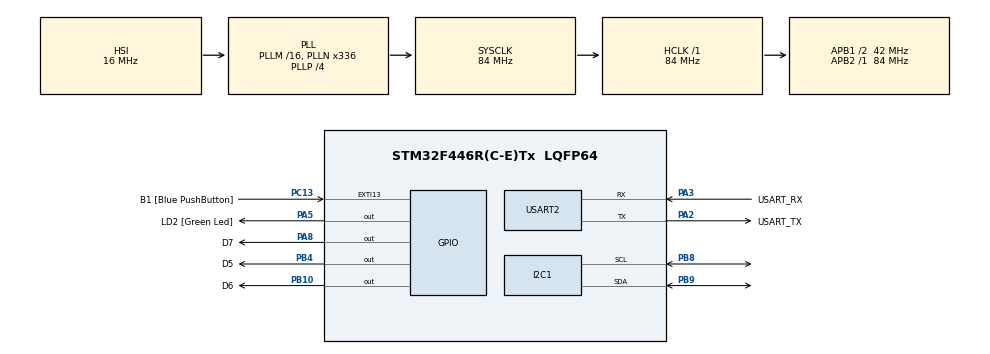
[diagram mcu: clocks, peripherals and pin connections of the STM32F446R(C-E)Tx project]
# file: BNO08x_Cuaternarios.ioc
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Mcu.Family=STM32F4
Mcu.Name=STM32F446R(C-E)Tx
Mcu.Package=LQFP64
NVIC.PriorityGroup=NVIC_PRIORITYGROUP_0
PA13.GPIO_Label=TMS
PA13.Mode=Serial_Wire
PA13.Signal=SYS_JTMS-SWDIO
PA14.GPIO_Label=TCK
PA14.Mode=Serial_Wire
PA14.Signal=SYS_JTCK-SWCLK
PA2.GPIO_Label=USART_TX
PA2.Mode=Asynchronous
PA2.Signal=USART2_TX
PA3.GPIO_Label=USART_RX
PA3.Mode=Asynchronous
PA3.Signal=USART2_RX
PA5.GPIO_Label=LD2 [Green Led]
PA5.Signal=GPIO_Output
PA8.GPIO_Label=D7
PA8.Signal=GPIO_Output
PB10.GPIO_Label=D6
PB10.Signal=GPIO_Output
PB3.GPIO_Label=SWO
PB3.Signal=SYS_JTDO-SWO
PB4.GPIO_Label=D5
PB4.Signal=GPIO_Output
PB8.Mode=I2C
PB8.Signal=I2C1_SCL
PB9.Mode=I2C
PB9.Signal=I2C1_SDA
PC13.GPIO_Label=B1 [Blue PushButton]
PC13.GPIO_ModeDefaultEXTI=GPIO_MODE_IT_FALLING
PC13.Signal=GPXTI13
PC14-OSC32_IN.Mode=LSE-External-Oscillator
PC14-OSC32_IN.Signal=RCC_OSC32_IN
PC15-OSC32_OUT.Mode=LSE-External-Oscillator
PC15-OSC32_OUT.Signal=RCC_OSC32_OUT
PH0-OSC_IN.Mode=HSE-External-Oscillator
PH0-OSC_IN.Signal=RCC_OSC_IN
PH1-OSC_OUT.Mode=HSE-External-Oscillator
PH1-OSC_OUT.Signal=RCC_OSC_OUT
ProjectManager.HeapSize=0x200
ProjectManager.StackSize=0x400
ProjectManager.TargetToolchain=STM32CubeIDE
RCC.48MHZClocksFreq_Value=84000000
RCC.AHBFreq_Value=84000000
RCC.APB1CLKDivider=RCC_HCLK_DIV2
RCC.APB1Freq_Value=42000000
RCC.APB1TimFreq_Value=84000000
RCC.APB2Freq_Value=84000000
RCC.APB2TimFreq_Value=84000000
RCC.CortexFreq_Value=84000000
RCC.FLatency-AdvancedSettings=FLASH_LATENCY_2
RCC.HCLKFreq_Value=84000000
RCC.HSE_VALUE=8000000
RCC.HSI_VALUE=16000000
RCC.PLLN=336
RCC.PLLP=RCC_PLLP_DIV4
RCC.SYSCLKFreq_VALUE=84000000
RCC.SYSCLKSource=RCC_SYSCLKSOURCE_PLLCLK
RCC.USBFreq_Value=168000000
RCC.VCOOutputFreq_Value=336000000
USART2.VirtualMode=VM_ASYNC
board=NUCLEO-F446RE

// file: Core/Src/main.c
/* USER CODE BEGIN Header */
/**
  ******************************************************************************
  * @file           : main.c
  * @brief          : Main program body
  ******************************************************************************
  * @attention
  *
  * Copyright (c) 2026 STMicroelectronics.
  * All rights reserved.
  *
  * This software is licensed under terms that can be found in the LICENSE file
  * in the root directory of this software component.
  * If no LICENSE file comes with this software, it is provided AS-IS.
  *
  ******************************************************************************
  */
/* USER CODE END Header */
#include "main.h"
/* USER CODE BEGIN Includes */
#include <stdio.h>
#include <string.h>
/* USER CODE END Includes */

I2C_HandleTypeDef hi2c1;

UART_HandleTypeDef huart2;

void SystemClock_Config(void);
static void MX_GPIO_Init(void);
static void MX_USART2_UART_Init(void);
static void MX_I2C1_Init(void);

/* USER CODE BEGIN 0 */

#define BNO08X_I2C_ADDR 0x4A // Dirección I2C (ADDR = GND)

// Pines del sensor
#define BNO08X_RST_Pin   GPIO_PIN_8
#define BNO08X_RST_Port  GPIOA
#define BNO08X_PS1_Pin   GPIO_PIN_10
#define BNO08X_PS1_Port  GPIOB
#define BNO08X_PS0_Pin   GPIO_PIN_4
#define BNO08X_PS0_Port  GPIOB

// Convertir Q14 a float
float q14_to_float(int16_t q) {
    return ((float)q) / 16384.0f;
}

// Configuración mínima de pines
void BNO08X_ConfigPins(void) {
    GPIO_InitTypeDef GPIO_InitStruct = {0};

    __HAL_RCC_GPIOA_CLK_ENABLE();
    __HAL_RCC_GPIOB_CLK_ENABLE();

    GPIO_InitStruct.Pin = BNO08X_RST_Pin | BNO08X_PS1_Pin | BNO08X_PS0_Pin;
    GPIO_InitStruct.Mode = GPIO_MODE_OUTPUT_PP;
    GPIO_InitStruct.Pull = GPIO_NOPULL;
    GPIO_InitStruct.Speed = GPIO_SPEED_FREQ_LOW;
    HAL_GPIO_Init(GPIOA, &GPIO_InitStruct);

    // Configurar PS1=LOW, PS0=LOW para I2C
    HAL_GPIO_WritePin(BNO08X_PS1_Port, BNO08X_PS1_Pin, GPIO_PIN_RESET);
    HAL_GPIO_WritePin(BNO08X_PS0_Port, BNO08X_PS0_Pin, GPIO_PIN_RESET);

    // Pulso de reset
    HAL_GPIO_WritePin(BNO08X_RST_Port, BNO08X_RST_Pin, GPIO_PIN_RESET);
    HAL_Delay(10);
    HAL_GPIO_WritePin(BNO08X_RST_Port, BNO08X_RST_Pin, GPIO_PIN_SET);
    HAL_Delay(50);
}

// Leer cuaterniones del sensor directamente por I2C
HAL_StatusTypeDef BNO08X_ReadQuat(I2C_HandleTypeDef *hi2c, float *qw, float *qx, float *qy, float *qz) {
    uint8_t buf[12];
    int16_t qw_i, qx_i, qy_i, qz_i;

    // Leer 12 bytes del sensor (X,Y,Z,W en Q14)
    if (HAL_I2C_Master_Receive(hi2c, (BNO08X_I2C_ADDR << 1), buf, 12, HAL_MAX_DELAY) != HAL_OK)
        return HAL_ERROR;

    qw_i = (int16_t)((buf[1] << 8) | buf[0]);
    qx_i = (int16_t)((buf[3] << 8) | buf[2]);
    qy_i = (int16_t)((buf[5] << 8) | buf[4]);
    qz_i = (int16_t)((buf[7] << 8) | buf[6]);

    *qw = q14_to_float(qw_i);
    *qx = q14_to_float(qx_i);
    *qy = q14_to_float(qy_i);
    *qz = q14_to_float(qz_i);

    return HAL_OK;
}

/* USER CODE END 0 */

int main(void)
{

  /* MCU Configuration--------------------------------------------------------*/

  /* Reset of all peripherals, Initializes the Flash interface and the Systick. */
  HAL_Init();

  /* Configure the system clock */
  SystemClock_Config();

  /* Initialize all configured peripherals */
  MX_GPIO_Init();
  MX_USART2_UART_Init();
  MX_I2C1_Init();
  /* USER CODE BEGIN 2 */

  BNO08X_ConfigPins();
  HAL_Delay(100); // Esperar que el sensor arranque

  float qw, qx, qy, qz;
  char msg[100];

  char test[] = "UART OK!\r\n";
  HAL_UART_Transmit(&huart2, (uint8_t*)test, strlen(test), HAL_MAX_DELAY);
  HAL_Delay(1000); // 1 segundo

  /* USER CODE END 2 */

  /* Infinite loop */
  while (1)
  {

    /* USER CODE BEGIN 3 */

	    if(BNO08X_ReadQuat(&hi2c1, &qw, &qx, &qy, &qz) == HAL_OK) {
	        sprintf(msg, "Q: %.4f %.4f %.4f %.4f\r\n", qw, qx, qy, qz);
	        HAL_UART_Transmit(&huart2, (uint8_t*)msg, strlen(msg), HAL_MAX_DELAY);
	    }
	    HAL_Delay(20); // 50 Hz

  }
  /* USER CODE END 3 */
}

void SystemClock_Config(void)
{
  RCC_OscInitTypeDef RCC_OscInitStruct = {0};
  RCC_ClkInitTypeDef RCC_ClkInitStruct = {0};

  /** Configure the main internal regulator output voltage
  */
  __HAL_RCC_PWR_CLK_ENABLE();
  __HAL_PWR_VOLTAGESCALING_CONFIG(PWR_REGULATOR_VOLTAGE_SCALE3);

  /** Initializes the RCC Oscillators according to the specified parameters
  * in the RCC_OscInitTypeDef structure.
  */
  RCC_OscInitStruct.OscillatorType = RCC_OSCILLATORTYPE_HSI;
  RCC_OscInitStruct.HSIState = RCC_HSI_ON;
  RCC_OscInitStruct.HSICalibrationValue = RCC_HSICALIBRATION_DEFAULT;
  RCC_OscInitStruct.PLL.PLLState = RCC_PLL_ON;
  RCC_OscInitStruct.PLL.PLLSource = RCC_PLLSOURCE_HSI;
  RCC_OscInitStruct.PLL.PLLM = 16;
  RCC_OscInitStruct.PLL.PLLN = 336;
  RCC_OscInitStruct.PLL.PLLP = RCC_PLLP_DIV4;
  RCC_OscInitStruct.PLL.PLLQ = 2;
  RCC_OscInitStruct.PLL.PLLR = 2;
  if (HAL_RCC_OscConfig(&RCC_OscInitStruct) != HAL_OK)
  {
    Error_Handler();
  }

  /** Initializes the CPU, AHB and APB buses clocks
  */
  RCC_ClkInitStruct.ClockType = RCC_CLOCKTYPE_HCLK|RCC_CLOCKTYPE_SYSCLK
                              |RCC_CLOCKTYPE_PCLK1|RCC_CLOCKTYPE_PCLK2;
  RCC_ClkInitStruct.SYSCLKSource = RCC_SYSCLKSOURCE_PLLCLK;
  RCC_ClkInitStruct.AHBCLKDivider = RCC_SYSCLK_DIV1;
  RCC_ClkInitStruct.APB1CLKDivider = RCC_HCLK_DIV2;
  RCC_ClkInitStruct.APB2CLKDivider = RCC_HCLK_DIV1;

  if (HAL_RCC_ClockConfig(&RCC_ClkInitStruct, FLASH_LATENCY_2) != HAL_OK)
  {
    Error_Handler();
  }
}

static void MX_I2C1_Init(void)
{

  hi2c1.Instance = I2C1;
  hi2c1.Init.ClockSpeed = 100000;
  hi2c1.Init.DutyCycle = I2C_DUTYCYCLE_2;
  hi2c1.Init.OwnAddress1 = 0;
  hi2c1.Init.AddressingMode = I2C_ADDRESSINGMODE_7BIT;
  hi2c1.Init.DualAddressMode = I2C_DUALADDRESS_DISABLE;
  hi2c1.Init.OwnAddress2 = 0;
  hi2c1.Init.GeneralCallMode = I2C_GENERALCALL_DISABLE;
  hi2c1.Init.NoStretchMode = I2C_NOSTRETCH_DISABLE;
  if (HAL_I2C_Init(&hi2c1) != HAL_OK)
  {
    Error_Handler();
  }

}

static void MX_USART2_UART_Init(void)
{

  huart2.Instance = USART2;
  huart2.Init.BaudRate = 115200;
  huart2.Init.WordLength = UART_WORDLENGTH_8B;
  huart2.Init.StopBits = UART_STOPBITS_1;
  huart2.Init.Parity = UART_PARITY_NONE;
  huart2.Init.Mode = UART_MODE_TX_RX;
  huart2.Init.HwFlowCtl = UART_HWCONTROL_NONE;
  huart2.Init.OverSampling = UART_OVERSAMPLING_16;
  if (HAL_UART_Init(&huart2) != HAL_OK)
  {
    Error_Handler();
  }

}

static void MX_GPIO_Init(void)
{
  GPIO_InitTypeDef GPIO_InitStruct = {0};

  /* GPIO Ports Clock Enable */
  __HAL_RCC_GPIOC_CLK_ENABLE();
  __HAL_RCC_GPIOH_CLK_ENABLE();
  __HAL_RCC_GPIOA_CLK_ENABLE();
  __HAL_RCC_GPIOB_CLK_ENABLE();

  /*Configure GPIO pin Output Level */
  HAL_GPIO_WritePin(GPIOA, LD2_Pin|D7_Pin, GPIO_PIN_RESET);

  /*Configure GPIO pin Output Level */
  HAL_GPIO_WritePin(GPIOB, D6_Pin|D5_Pin, GPIO_PIN_RESET);

  /*Configure GPIO pin : B1_Pin */
  GPIO_InitStruct.Pin = B1_Pin;
  GPIO_InitStruct.Mode = GPIO_MODE_IT_FALLING;
  GPIO_InitStruct.Pull = GPIO_NOPULL;
  HAL_GPIO_Init(B1_GPIO_Port, &GPIO_InitStruct);

  /*Configure GPIO pins : LD2_Pin D7_Pin */
  GPIO_InitStruct.Pin = LD2_Pin|D7_Pin;
  GPIO_InitStruct.Mode = GPIO_MODE_OUTPUT_PP;
  GPIO_InitStruct.Pull = GPIO_NOPULL;
  GPIO_InitStruct.Speed = GPIO_SPEED_FREQ_LOW;
  HAL_GPIO_Init(GPIOA, &GPIO_InitStruct);

  /*Configure GPIO pins : D6_Pin D5_Pin */
  GPIO_InitStruct.Pin = D6_Pin|D5_Pin;
  GPIO_InitStruct.Mode = GPIO_MODE_OUTPUT_PP;
  GPIO_InitStruct.Pull = GPIO_NOPULL;
  GPIO_InitStruct.Speed = GPIO_SPEED_FREQ_LOW;
  HAL_GPIO_Init(GPIOB, &GPIO_InitStruct);

}

void Error_Handler(void)
{
  __disable_irq();
  while (1)
  {
  }
}
